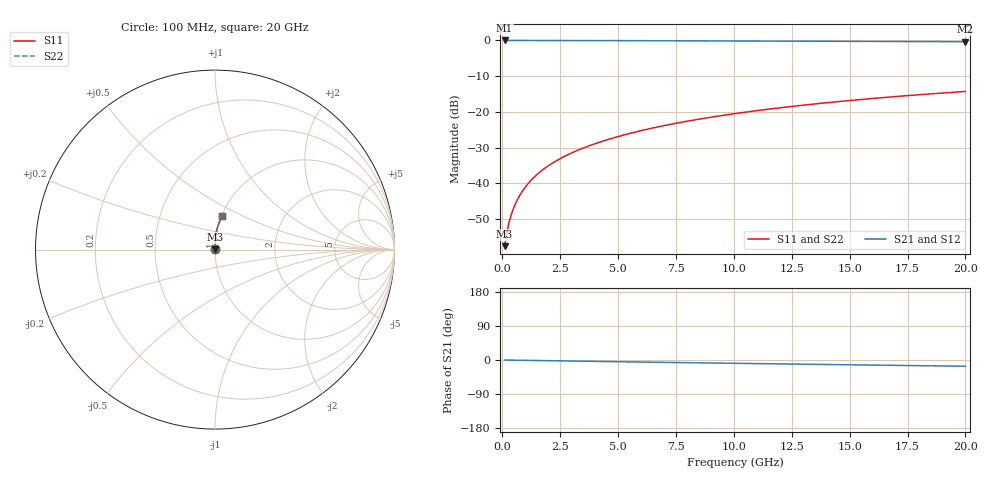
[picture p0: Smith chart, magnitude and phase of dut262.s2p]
! Touchstone file exported from HFSS 2024.1.0
!  File:  C:/UserFiles/LocalFiles/RDL_TSV_Batchsim/temp_RDL_top_262_1778689329.aedt
!  Generated:  12:24:39 AM May 14, 2026
!  Design:  RDL_top
!  Project:  temp_RDL_top_262_1778689329
!  Setup:  Setup1
!  Solution:  Sweep
! Variables:
!  dtsv = 10.80580581um
!  hbump = 3um
!  htsv = 96.69um
!  ldown = 100um
!  lrdl = 185.83um
!  p = 40
!  p1 = 55.24um
!  rhole = 1um
!  t = 450um
!  tdown = 3.915915916um
!  trdl = 4.22um
!  wdown = 15.38538539um
!  wrdl = 20.78um
# GHz S MA R 50.000000
! Terminal data exported
! Port[1] = Box2_T1
! Port[2] = Box2_T2
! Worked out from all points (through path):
!   200 points, 100 MHz to 20 GHz, reference 50 ohm
!   highest |S21| = -0.01 dB at 100 MHz (marker M1); lowest = -0.4 dB at 20 GHz (marker M2)
!   group delay of S21, straight-line fit = 2.27 ps
!   lowest |S11| = -57.6 dB at 100 MHz (marker M3), VSWR 1.00, Z = 50.1 + j0.0937 ohm
!   |S11| at or under -10 dB: start of sweep to end of sweep
!   |S22| runs from -57.6 to -14.3 dB; largest |S21 - S12| = 4e-15
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0.1  0.001316 45.3  0.9991 -0.1  0.9991 -0.1  0.001316 45.3
! Gamma 0 0 0 0
! Port Impedance 50 0 50 0
0.2  0.002081 62.4  0.999 -0.2  0.999 -0.2  0.002081 62.4
0.3  0.002907 69.8  0.999 -0.3  0.999 -0.3  0.002907 69.8
0.4  0.003746 74.1  0.9989 -0.4  0.9989 -0.4  0.003746 74.1
0.5  0.004593 76.8  0.9989 -0.5  0.9989 -0.5  0.004593 76.8
0.6  0.005447 78.8  0.9988 -0.6  0.9988 -0.6  0.005447 78.8
0.8  0.007168 81.4  0.9987 -0.8  0.9987 -0.8  0.007168 81.4
1.1  0.009773 83.7  0.9985 -1.0  0.9985 -1.0  0.009773 83.7
1.5  0.01328 85.3  0.9983 -1.4  0.9983 -1.4  0.01328 85.3
1.8  0.01592 86.1  0.998 -1.7  0.998 -1.7  0.01592 86.1
2.1  0.01858 86.7  0.9977 -2.0  0.9977 -2.0  0.01858 86.7
2.7  0.02394 87.4  0.9969 -2.5  0.9969 -2.5  0.02394 87.4
3.5  0.03118 87.9  0.9957 -3.2  0.9957 -3.2  0.03118 87.9
4.2  0.03761 88.1  0.9945 -3.9  0.9945 -3.9  0.03761 88.1
5  0.04508 88.1  0.993 -4.6  0.993 -4.6  0.04508 88.1
5.9  0.05362 88.0  0.9911 -5.3  0.9911 -5.3  0.05362 88.0
6.8  0.06231 87.7  0.9892 -6.1  0.9892 -6.1  0.06231 87.7
8.4  0.07802 86.9  0.9856 -7.4  0.9856 -7.4  0.07802 86.9
10.1  0.09497 85.8  0.9817 -8.8  0.9817 -8.8  0.09497 85.8
13.4  0.1281 83.2  0.9742 -11.4  0.9742 -11.4  0.1281 83.2
16.7  0.1609 80.4  0.9666 -14.0  0.9666 -14.0  0.1609 80.4
20  0.193 77.6  0.9586 -16.5  0.9586 -16.5  0.193 77.6
